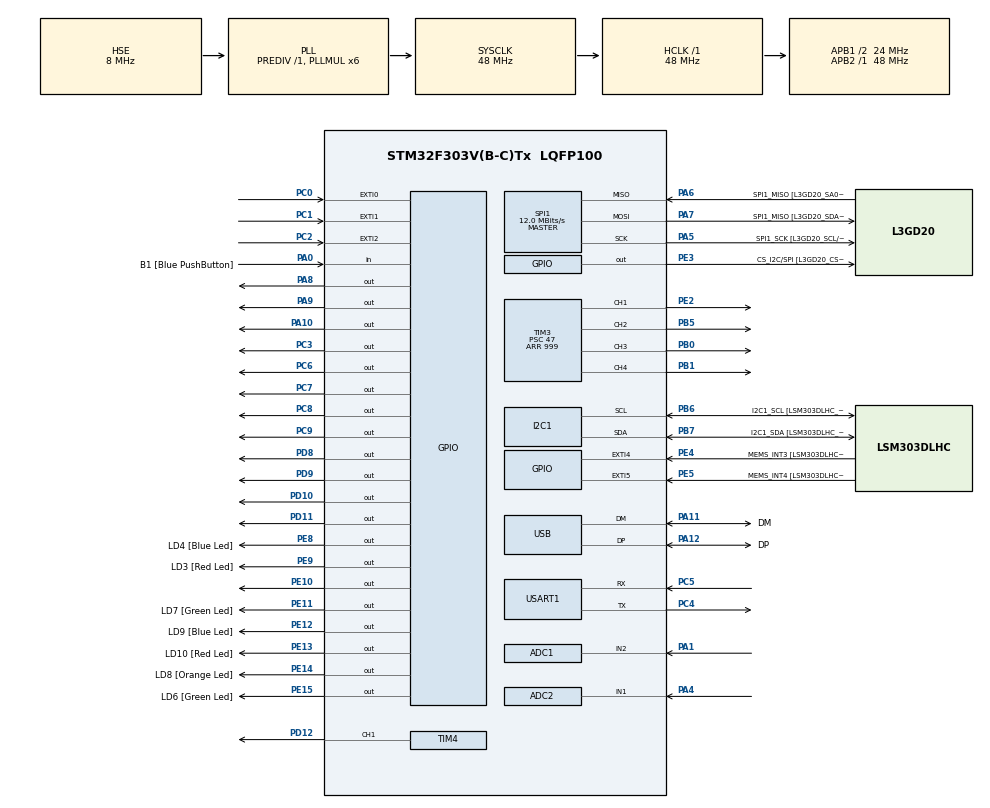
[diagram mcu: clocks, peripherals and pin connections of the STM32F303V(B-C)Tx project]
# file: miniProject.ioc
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ADC1.Channel-0\#ChannelRegularConversion=ADC_CHANNEL_2
ADC1.NbrOfConversionFlag=1
ADC1.Offset-0\#ChannelRegularConversion=0
ADC1.OffsetNumber-0\#ChannelRegularConversion=ADC_OFFSET_NONE
ADC1.Rank-0\#ChannelRegularConversion=1
ADC1.SamplingTime-0\#ChannelRegularConversion=ADC_SAMPLETIME_1CYCLE_5
ADC1.master=1
ADC2.Channel-1\#ChannelRegularConversion=ADC_CHANNEL_1
ADC2.NbrOfConversionFlag=1
ADC2.Offset-1\#ChannelRegularConversion=0
ADC2.OffsetNumber-1\#ChannelRegularConversion=ADC_OFFSET_NONE
ADC2.Rank-1\#ChannelRegularConversion=1
ADC2.SamplingTime-1\#ChannelRegularConversion=ADC_SAMPLETIME_601CYCLES_5
ADC2.SamplingTimeOPAMP-1\#ChannelRegularConversion=ADC_SAMPLETIME_19CYCLES_5
I2C1.Timing-I2C=0x2000090E
Mcu.Family=STM32F3
Mcu.Name=STM32F303V(B-C)Tx
Mcu.Package=LQFP100
NVIC.ADC1_2_IRQn=true\:0\:0\:false\:false\:true\:true\:true\:true
NVIC.EXTI0_IRQn=true\:0\:0\:false\:false\:true\:true\:true\:true
NVIC.EXTI1_IRQn=true\:0\:0\:false\:false\:true\:true\:true\:true
NVIC.EXTI2_TSC_IRQn=true\:0\:0\:false\:false\:true\:true\:true\:true
NVIC.PriorityGroup=NVIC_PRIORITYGROUP_0
NVIC.TIM1_BRK_TIM15_IRQn=true\:0\:0\:false\:false\:true\:true\:true\:true
NVIC.TIM1_CC_IRQn=true\:0\:0\:false\:false\:true\:true\:true\:true
NVIC.TIM1_TRG_COM_TIM17_IRQn=true\:0\:0\:false\:false\:true\:true\:true\:true
NVIC.TIM1_UP_TIM16_IRQn=true\:0\:0\:false\:false\:true\:true\:true\:true
NVIC.TIM2_IRQn=true\:0\:0\:false\:false\:true\:true\:true\:true
NVIC.TIM3_IRQn=true\:0\:0\:false\:false\:true\:true\:true\:true
NVIC.USART1_IRQn=true\:0\:0\:false\:false\:true\:true\:true\:true
PA0.GPIO_Label=B1 [Blue PushButton]
PA0.Signal=GPIO_Input
PA1.Mode=IN2-Single-Ended
PA1.Signal=ADC1_IN2
PA10.Signal=GPIO_Output
PA11.GPIO_Label=DM
PA11.Mode=Device
PA11.Signal=USB_DM
PA12.GPIO_Label=DP
PA12.Mode=Device
PA12.Signal=USB_DP
PA13.GPIO_Label=SWDIO
PA13.Mode=Serial_Wire
PA13.Signal=SYS_JTMS-SWDIO
PA14.GPIO_Label=SWCLK
PA14.Mode=Serial_Wire
PA14.Signal=SYS_JTCK-SWCLK
PA4.Mode=IN1-Single-Ended
PA4.Signal=ADC2_IN1
PA5.GPIO_Label=SPI1_SCK [L3GD20_SCL/SPC]
PA5.Mode=Full_Duplex_Master
PA5.Signal=SPI1_SCK
PA6.GPIO_Label=SPI1_MISO [L3GD20_SA0/SDO]
PA6.Mode=Full_Duplex_Master
PA6.Signal=SPI1_MISO
PA7.GPIO_Label=SPI1_MISO [L3GD20_SDA/SDI/SDO]
PA7.Mode=Full_Duplex_Master
PA7.Signal=SPI1_MOSI
PA8.Signal=GPIO_Output
PA9.Signal=GPIO_Output
PB0.Signal=S_TIM3_CH3
PB1.Signal=S_TIM3_CH4
PB3.GPIO_Label=SWO
PB3.Signal=SYS_JTDO-TRACESWO
PB5.Signal=S_TIM3_CH2
PB6.GPIO_Label=I2C1_SCL [LSM303DLHC_SCL]
PB6.GPIO_Pu=GPIO_PULLUP
PB6.Mode=I2C
PB6.Signal=I2C1_SCL
PB7.GPIO_Label=I2C1_SDA [LSM303DLHC_SDA]
PB7.GPIO_Pu=GPIO_PULLUP
PB7.Mode=I2C
PB7.Signal=I2C1_SDA
PC0.GPIO_PuPd=GPIO_PULLUP
PC0.Signal=GPXTI0
PC1.GPIO_PuPd=GPIO_PULLUP
PC1.Signal=GPXTI1
PC14-OSC32_IN.GPIO_Label=OSC32_IN
PC14-OSC32_IN.Signal=RCC_OSC32_IN
PC15-OSC32_OUT.GPIO_Label=OSC32_OUT
PC15-OSC32_OUT.Signal=RCC_OSC32_OUT
PC2.GPIO_PuPd=GPIO_PULLUP
PC2.Signal=GPXTI2
PC3.Signal=GPIO_Output
PC4.Mode=Asynchronous
PC4.Signal=USART1_TX
PC5.Mode=Asynchronous
PC5.Signal=USART1_RX
PC6.Signal=GPIO_Output
PC7.Signal=GPIO_Output
PC8.Signal=GPIO_Output
PC9.Signal=GPIO_Output
PD10.Signal=GPIO_Output
PD11.Signal=GPIO_Output
PD12.Signal=S_TIM4_CH1
PD8.Signal=GPIO_Output
PD9.Signal=GPIO_Output
PE10.Signal=GPIO_Output
PE11.GPIO_Label=LD7 [Green Led]
PE11.Signal=GPIO_Output
PE12.GPIO_Label=LD9 [Blue Led]
PE12.Signal=GPIO_Output
PE13.GPIO_Label=LD10 [Red Led]
PE13.Signal=GPIO_Output
PE14.GPIO_Label=LD8 [Orange Led]
PE14.Signal=GPIO_Output
PE15.GPIO_Label=LD6 [Green Led]
PE15.Signal=GPIO_Output
PE2.Signal=S_TIM3_CH1
PE3.GPIO_Label=CS_I2C/SPI [L3GD20_CS_I2C/SPI]
PE3.Signal=GPIO_Output
PE4.GPIO_Label=MEMS_INT3 [LSM303DLHC_INT1]
PE4.GPIO_ModeDefaultEXTI=GPIO_MODE_EVT_RISING
PE4.Signal=GPXTI4
PE5.GPIO_Label=MEMS_INT4 [LSM303DLHC_INT2]
PE5.GPIO_ModeDefaultEXTI=GPIO_MODE_EVT_RISING
PE5.Signal=GPXTI5
PE8.GPIO_Label=LD4 [Blue Led]
PE8.Signal=GPIO_Output
PE9.GPIO_Label=LD3 [Red Led]
PE9.Signal=GPIO_Output
PF0-OSC_IN.GPIO_Label=OSC_IN
PF0-OSC_IN.Mode=HSE-External-Clock-Source
PF0-OSC_IN.Signal=RCC_OSC_IN
PF1-OSC_OUT.GPIO_Label=OSC_OUT
PF1-OSC_OUT.Signal=RCC_OSC_OUT
ProjectManager.HeapSize=0x200
ProjectManager.StackSize=0x400
ProjectManager.TargetToolchain=STM32CubeIDE
RCC.AHBFreq_Value=48000000
RCC.APB1CLKDivider=RCC_HCLK_DIV2
RCC.APB1Freq_Value=24000000
RCC.APB1TimFreq_Value=48000000
RCC.APB2Freq_Value=48000000
RCC.APB2TimFreq_Value=48000000
RCC.CortexFreq_Value=48000000
RCC.HCLKFreq_Value=48000000
RCC.HSE_VALUE=8000000
RCC.HSI_VALUE=8000000
RCC.LSE_VALUE=32768
RCC.PLLMUL=RCC_PLL_MUL6
RCC.SYSCLKFreq_VALUE=48000000
RCC.SYSCLKSourceVirtual=RCC_SYSCLKSOURCE_PLLCLK
RCC.USBFreq_Value=48000000
SH.S_TIM3_CH1.0=TIM3_CH1,PWM Generation1 CH1
SH.S_TIM3_CH2.0=TIM3_CH2,PWM Generation2 CH2
SH.S_TIM3_CH3.0=TIM3_CH3,PWM Generation3 CH3
SH.S_TIM3_CH4.0=TIM3_CH4,PWM Generation4 CH4
SH.S_TIM4_CH1.0=TIM4_CH1,PWM Generation1 CH1
SPI1.BaudRatePrescaler=SPI_BAUDRATEPRESCALER_4
SPI1.BaudRatePrescaler-Full_Duplex_Master=SPI_BAUDRATEPRESCALER_2
SPI1.CalculateBaudRate=12.0 MBits/s
SPI1.CalculateBaudRate-Full_Duplex_Master=24.0 MBits/s
SPI1.Direction=SPI_DIRECTION_2LINES
SPI1.Mode=SPI_MODE_MASTER
SPI1.Mode-Full_Duplex_Master=SPI_MODE_MASTER
SPI1.VirtualType=VM_MASTER
TIM1.CounterMode=TIM_COUNTERMODE_UP
TIM1.Period=999
TIM1.Prescaler=47
TIM2.Period=999
TIM2.Prescaler=47
TIM3.Channel-PWM\ Generation1\ CH1=TIM_CHANNEL_1
TIM3.Channel-PWM\ Generation2\ CH2=TIM_CHANNEL_2
TIM3.Channel-PWM\ Generation3\ CH3=TIM_CHANNEL_3
TIM3.Channel-PWM\ Generation4\ CH4=TIM_CHANNEL_4
TIM3.Period=999
TIM3.Prescaler=47
TIM4.Channel-PWM\ Generation1\ CH1=TIM_CHANNEL_1
USART1.VirtualMode-Asynchronous=VM_ASYNC
VP_TIM1_VS_ClockSourceINT.Mode=Internal
VP_TIM2_VS_ClockSourceINT.Mode=Internal
VP_TIM3_VS_ClockSourceINT.Mode=Internal
VP_TIM4_VS_ClockSourceINT.Mode=Internal
board=STM32F3DISCOVERY

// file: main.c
/* USER CODE BEGIN Header */
/**
 ******************************************************************************
 * @file           : main.c
 * @brief          : Main program body
 ******************************************************************************
 * @attention
 *
 * Copyright (c) 2023 STMicroelectronics.
 * All rights reserved.
 *
 * This software is licensed under terms that can be found in the LICENSE file
 * in the root directory of this software component.
 * If no LICENSE file comes with this software, it is provided AS-IS.
 *
 ******************************************************************************
 */
/* USER CODE END Header */
#include "main.h"

/* USER CODE BEGIN Includes */
#include <math.h>
#include <stdio.h>
/* USER CODE END Includes */

ADC_HandleTypeDef hadc1;
ADC_HandleTypeDef hadc2;

I2C_HandleTypeDef hi2c1;

SPI_HandleTypeDef hspi1;

TIM_HandleTypeDef htim1;
TIM_HandleTypeDef htim2;
TIM_HandleTypeDef htim3;
TIM_HandleTypeDef htim4;

UART_HandleTypeDef huart1;

PCD_HandleTypeDef hpcd_USB_FS;

/* USER CODE BEGIN PV */

//uint8_t bufferRTC[100];
//uint32_t bufferindex = 0;
//int compare = 0;
//uint32_t hour;
//uint32_t minutes;
//uint32_t seconds;
//RTC_TimeTypeDef mytime = { .Hours = 1, .Minutes = 12, .Seconds = 2 };
/* USER CODE END PV */

void SystemClock_Config(void);
static void MX_GPIO_Init(void);
static void MX_I2C1_Init(void);
static void MX_SPI1_Init(void);
static void MX_USB_PCD_Init(void);
static void MX_TIM3_Init(void);
static void MX_TIM4_Init(void);
static void MX_ADC1_Init(void);
static void MX_TIM1_Init(void);
static void MX_TIM2_Init(void);
static void MX_ADC2_Init(void);
static void MX_USART1_UART_Init(void);

/* USER CODE BEGIN 0 */
int key_time = 0;
int state_prim = 4;
TIM_HandleTypeDef *pwm_timer = &htim3;
int sin_counter = 400;
int tr_counter = 10;
int maxBuzzer = 500;
int minBuzzer = 0;
int flag = 0;
int timer = 0;
int vol, ldrVal;
int dimstep = 0;
int maxVol = 4095;
int minVol = 100;
int range = 4095 - 100;
int counterTimerAdc = 0;
int treshold = 10000, treshold1 = 0;
int first_light = 0;
int first_cnt = 0;
int countervol = 0;
int sum = 0, avg = 0, state_tr = 0, first_tap = 0;
int warnCount = 0;
int timerState2 = 0;
int alreadyWarned = 1;
int leds[8] = { GPIO_PIN_8, GPIO_PIN_9, GPIO_PIN_10, GPIO_PIN_11, GPIO_PIN_12,
GPIO_PIN_13, GPIO_PIN_14, GPIO_PIN_15 };
char input_uart[50];
int light = 0;
int warNum = 0;
char rx_byte[1];
char buffer_uart[50];
int buffer_index = 0;
uint32_t state = 0;
uint32_t buffer[100];
uint8_t buffer2transmist[100];

typedef struct {
	GPIO_TypeDef *port;
	uint16_t pin;
} pin_type;

typedef struct {
	pin_type digit_activators[4];
	pin_type BCD_input[4];
	uint32_t digits[4];
	uint32_t number;
} seven_segment_type;

void uart_send(uint8_t *buffer2transmist, int len) {
	HAL_UART_Transmit(&huart1, buffer2transmist, len, 100);
}

void ledOff_board() {
	for (int i = 0; i < 8; i++) {
		HAL_GPIO_WritePin(GPIOE, leds[i], 0);
	}
}
void ledOn_board() {
	for (int i = 0; i < 8; i++) {
		HAL_GPIO_WritePin(GPIOE, leds[i], 1);
	}
}

seven_segment_type seven_segment = { .digit_activators = { { .port = GPIOD,
		.pin = GPIO_PIN_8 }, { .port = GPIOD, .pin = GPIO_PIN_9 }, { .port =
GPIOD, .pin = GPIO_PIN_11 }, { .port = GPIOD, .pin = GPIO_PIN_10 } },
		.BCD_input = { { .port = GPIOA, .pin = GPIO_PIN_8 }, { .port = GPIOA,
				.pin = GPIO_PIN_10 }, { .port = GPIOA, .pin = GPIO_PIN_9 }, {
				.port = GPIOC, .pin = GPIO_PIN_9 } }, .digits = { 0, 0, 0, 0 },
		.number = 0 };

void seven_segment_display_decimal(uint32_t n) {
	if (n < 10) {
		HAL_GPIO_WritePin(seven_segment.BCD_input[0].port,
				seven_segment.BCD_input[0].pin,
				(n & 1) ? GPIO_PIN_SET : GPIO_PIN_RESET);
		HAL_GPIO_WritePin(seven_segment.BCD_input[1].port,
				seven_segment.BCD_input[1].pin,
				(n & 2) ? GPIO_PIN_SET : GPIO_PIN_RESET);
		HAL_GPIO_WritePin(seven_segment.BCD_input[2].port,
				seven_segment.BCD_input[2].pin,
				(n & 4) ? GPIO_PIN_SET : GPIO_PIN_RESET);
		HAL_GPIO_WritePin(seven_segment.BCD_input[3].port,
				seven_segment.BCD_input[3].pin,
				(n & 8) ? GPIO_PIN_SET : GPIO_PIN_RESET);
	}
}

void seven_segment_deactivate_digits(void) {
	for (int i = 0; i < 4; ++i) {
		HAL_GPIO_WritePin(seven_segment.digit_activators[i].port,
				seven_segment.digit_activators[i].pin, GPIO_PIN_SET);
	}
}

void seven_segment_activate_digit(uint32_t d) {
	if (d < 4) {
		HAL_GPIO_WritePin(seven_segment.digit_activators[d].port,
				seven_segment.digit_activators[d].pin, GPIO_PIN_RESET);
	}
}

void seven_segment_set_num(uint32_t n) {
	if (n < 10000) {
		seven_segment.number = n;
		for (uint32_t i = 0; i < 4; ++i) {
			seven_segment.digits[3 - i] = n % 10;
			n /= 10;
		}
	}
}

void seven_segment_refresh(void) {

	static uint32_t last_time = 0;
	if (HAL_GetTick() - last_time > 5) {
		seven_segment_deactivate_digits();
		seven_segment_activate_digit(state);
		seven_segment_display_decimal(seven_segment.digits[state]);
		state = (state + 1) % 4;
		last_time = HAL_GetTick();
		if (state == state_prim && state_prim != 0) {
			HAL_GPIO_WritePin(GPIOC, GPIO_PIN_8, 1);
		} else {
			HAL_GPIO_WritePin(GPIOC, GPIO_PIN_8, 0);
		}
	}
}

void programInit() {
	seven_segment_set_num(0000);

}

void programLoop() {
	seven_segment.digits[3]=warnCount;
	seven_segment_refresh();

}

void ledOff() {
	__HAL_TIM_SET_COMPARE(&htim3, TIM_CHANNEL_1, 0);
	__HAL_TIM_SET_COMPARE(&htim3, TIM_CHANNEL_2, 0);
	__HAL_TIM_SET_COMPARE(&htim3, TIM_CHANNEL_3, 0);
	__HAL_TIM_SET_COMPARE(&htim3, TIM_CHANNEL_4, 0);
}
void ledOn() {

	if (seven_segment.digits[1] == 0) {
		ledOff();
	} else if (seven_segment.digits[1] == 1) {
		__HAL_TIM_SET_COMPARE(&htim3, TIM_CHANNEL_1,
				(seven_segment.digits[0] * 100) + (vol * 50));
		__HAL_TIM_SET_COMPARE(&htim3, TIM_CHANNEL_2, 0);
		__HAL_TIM_SET_COMPARE(&htim3, TIM_CHANNEL_3, 0);
		__HAL_TIM_SET_COMPARE(&htim3, TIM_CHANNEL_4, 0);

	} else if (seven_segment.digits[1] == 2) {
		__HAL_TIM_SET_COMPARE(&htim3, TIM_CHANNEL_1,
				(seven_segment.digits[0] * 100) + (vol * 50));
		__HAL_TIM_SET_COMPARE(&htim3, TIM_CHANNEL_2,
				(seven_segment.digits[0] * 100) + (vol * 50));
		__HAL_TIM_SET_COMPARE(&htim3, TIM_CHANNEL_3, 0);
		__HAL_TIM_SET_COMPARE(&htim3, TIM_CHANNEL_4, 0);

	} else if (seven_segment.digits[1] == 3) {
		__HAL_TIM_SET_COMPARE(&htim3, TIM_CHANNEL_1,
				(seven_segment.digits[0] * 100) + (vol * 50));
		__HAL_TIM_SET_COMPARE(&htim3, TIM_CHANNEL_2,
				(seven_segment.digits[0] * 100) + (vol * 50));
		__HAL_TIM_SET_COMPARE(&htim3, TIM_CHANNEL_3,
				(seven_segment.digits[0] * 100) + (vol * 50));
		__HAL_TIM_SET_COMPARE(&htim3, TIM_CHANNEL_4, 0);

	} else if (seven_segment.digits[1] == 4) {
		__HAL_TIM_SET_COMPARE(&htim3, TIM_CHANNEL_1,
				(seven_segment.digits[0] * 100) + (vol * 50));
		__HAL_TIM_SET_COMPARE(&htim3, TIM_CHANNEL_2,
				(seven_segment.digits[0] * 100) + (vol * 50));
		__HAL_TIM_SET_COMPARE(&htim3, TIM_CHANNEL_3,
				(seven_segment.digits[0] * 100) + (vol * 50));
		__HAL_TIM_SET_COMPARE(&htim3, TIM_CHANNEL_4,
				(seven_segment.digits[0] * 100) + (vol * 50));
	}
}

void buzzer_Change_Tone(uint16_t pwm_freq, uint16_t volume) // pwm_freq (1 - 20000), volume (0 - 1000)
{
	if (pwm_freq == 0 || pwm_freq > 20000) {
		__HAL_TIM_SET_COMPARE(&htim4, TIM_CHANNEL_1, 0);
	} else {
		const uint32_t internal_clock_freq = HAL_RCC_GetSysClockFreq();
		const uint16_t prescaler = 1 + internal_clock_freq / pwm_freq / 60000;
		const uint32_t timer_clock = internal_clock_freq / prescaler;
		const uint32_t period_cycles = timer_clock / pwm_freq;
		const uint32_t pulse_width = volume * period_cycles / 1000 / 2;

		pwm_timer->Instance->PSC = prescaler - 1;
		pwm_timer->Instance->ARR = period_cycles - 1;
		pwm_timer->Instance->EGR = TIM_EGR_UG;
		__HAL_TIM_SET_COMPARE(&htim4, TIM_CHANNEL_1, pulse_width); // pwm_timer->Instance->CCR2 = pulse_width;
	}
}

void warning() { //buzzer

	if (seven_segment.digits[2] == 1) { //sin
		static uint32_t last_millis = 0;
		buzzer_Change_Tone(
				(((maxBuzzer - minBuzzer) / 2)
						* sin(2 * 3.14 * sin_counter / 1000)
						+ ((maxBuzzer + minBuzzer) / 2)), 5);
		if (HAL_GetTick() - last_millis > 500) {
			uint8_t arr2[] = "[INFO] Digit changed\n";
			int len = sprintf(buffer2transmist,
					"[Info] Wave changed to {sin}\n");
			uart_send(arr2, sizeof(arr2));
			uart_send(buffer2transmist, len);
			last_millis = HAL_GetTick();
		}
	} else if (seven_segment.digits[2] == 2) { //square
		if (flag == 1) {
			buzzer_Change_Tone(1000, 50);
		} else {
			buzzer_Change_Tone(0, 50);
		}
		static uint32_t last_millis = 0;
		if (HAL_GetTick() - last_millis > 500) {
			uint8_t arr2[] = "[INFO] Digit changed\n";
			int len = sprintf(buffer2transmist,
					"[INFO] Wave changed to {Square}\n");
			uart_send(arr2, sizeof(arr2));
			uart_send(buffer2transmist, len);
			last_millis = HAL_GetTick();
		}
	} else if (seven_segment.digits[2] == 3) { //triangular
		static uint32_t last_millis = 0;
		buzzer_Change_Tone(tr_counter, 100);
		if (tr_counter > 2000)
			tr_counter = 0;
		if (HAL_GetTick() - last_millis > 500) {
			uint8_t arr2[] = "[INFO] Digit changed\n";
			int len = sprintf(buffer2transmist,
					"[Info] Wave changed to {triangular}\n");
			uart_send(arr2, sizeof(arr2));
			uart_send(buffer2transmist, len);
			last_millis = HAL_GetTick();
		}
	}
}

void increment_selected_digit() {
	if (state_prim == 1) { // 0 ta 9
		seven_segment.digits[0] = (seven_segment.digits[0] + 1) % 10;
	} else if (state_prim == 2) { // 0 ta 4
		seven_segment.digits[1] = (seven_segment.digits[1] + 1) % 5;

	} else if (state_prim == 3) { // 1 ta 3
		seven_segment.digits[2] = (seven_segment.digits[2] + 1) % 4;
		if (seven_segment.digits[2] == 0) {
			seven_segment.digits[2] = 1;
		}

	}
}
void decrese_selected_digit() {
	if (state_prim == 1) {
		if (seven_segment.digits[0] == 0) {
			seven_segment.digits[0] = 9;
		} else {
			seven_segment.digits[0] = (seven_segment.digits[0] - 1) % 9;
		}
	} else if (state_prim == 2) {
		if (seven_segment.digits[1] == 0) {
			seven_segment.digits[1] = 4;
		} else {
			seven_segment.digits[1] = (seven_segment.digits[1] - 1) % 5;
		}
	} else if (state_prim == 3) {
		if (seven_segment.digits[2] == 1) {
			seven_segment.digits[2] = 4;
		}
		seven_segment.digits[2] = (seven_segment.digits[2] - 1) % 4;
	}
}

void HAL_GPIO_EXTI_Callback(uint16_t GPIO_Pin) {

	if (HAL_GetTick() - key_time < 200)
		return;
	key_time = HAL_GetTick();

	if (GPIO_Pin == GPIO_PIN_0) { //button
		state_prim++;
		if (state_prim > 3) {
			state_prim = 1;
		}
		if (first_tap == 0) {
			treshold = treshold1;
			first_tap = 1;
			unsigned char data[100] = "SALAM";
			int n = sprintf(data, "treshhold:  %d\n", treshold);
			HAL_UART_Transmit(&huart1, data, n, 1000);
			seven_segment_set_num(0000);
			state_tr = 1;
		}
	} else if (GPIO_Pin == GPIO_PIN_1) {
		increment_selected_digit();
		//HAL_GPIO_TogglePin(GPIOE, GPIO_PIN_10);
		ledOn();
		static uint32_t last_millis = 0;
		if (HAL_GetTick() - last_millis > 500) {
			uint8_t arr2[] = "[INFO] Digit changed\n";
			uart_send(arr2, sizeof(arr2));
			int len = snprintf(buffer2transmist, sizeof buffer2transmist,
					"[Info] Digit {%d} Increased\n", state_prim);
			uart_send(buffer2transmist, len);
			last_millis = HAL_GetTick();
		}
	} else if (GPIO_Pin == GPIO_PIN_2) {
		decrese_selected_digit();
		static uint32_t last_millis = 0;
		//HAL_GPIO_TogglePin(GPIOE, GPIO_PIN_11);
		if (HAL_GetTick() - last_millis > 500) {
			uint8_t arr2[] = "[INFO] Digit changed\n";
			int len = sprintf(buffer2transmist, "[Info] Digit {%d} Dcreased\n",
					state_prim);
			uart_send(arr2, sizeof(arr2));
			uart_send(buffer2transmist, len);
			last_millis = HAL_GetTick();
		}
	}

}

void HAL_TIM_PeriodElapsedCallback(TIM_HandleTypeDef *htim) {
	if (htim->Instance == TIM2) {
		timerState2++;
		counterTimerAdc++;
		sin_counter++;
		tr_counter++;
		ledOn_board();
		if (ldrVal > treshold) {
			ledOff_board();
//			ledOff();
			warning();
			if (alreadyWarned == 1) {
				static uint32_t last_millis = 0;
				if (HAL_GetTick() - last_millis > 500) {
					uint8_t arr2[] = "[INFO] Digit changed\n";
					uart_send(arr2, sizeof(arr2));
					int len = sprintf(buffer2transmist,
							"[WARN] Critical Situation. Light value:{%d}",
							ldrVal);
					uart_send(buffer2transmist, len);
					last_millis = HAL_GetTick();
				}
				state_tr = 2;
				ledOff();
				if (timerState2 < 500) {
					seven_segment_activate_digit(state);
				} else if (timerState2 < 1000) {
					seven_segment_deactivate_digits();
				} else {
					timerState2 = 0;
				}
			} else {
				warnCount++;
				if(warnCount>9)
					warnCount=0;
				alreadyWarned = 1;
			}
		} else {
			alreadyWarned = 0;
			buzzer_Change_Tone(0, 0);
		}
		HAL_ADC_Start_IT(&hadc1);
		if (counterTimerAdc > 100) {
			HAL_ADC_Start_IT(&hadc2);

			counterTimerAdc = 0;
		}
		timer++;
		if (timer == 500) {
			if (flag == 0) {
				flag = 1;
			} else {
				flag = 0;
			}
			timer = 0;
		}
		ledOn();
	}

}

void HAL_ADC_ConvCpltCallback(ADC_HandleTypeDef *hadc)

{
	if (hadc->Instance == ADC1) {
		int y = HAL_ADC_GetValue(&hadc1);
		static uint32_t last = 0;
		vol = ((int) y * 20 / 4095);
		unsigned char data[100] = "SALAM";
		countervol++;
		vol -= 10;
		sum += vol;
		if (countervol == 100 && state_tr == 0) {
			avg = sum / 100;
			seven_segment_set_num(((avg + first_light) * 20) - 160); //scale for 20
			treshold1 = ((avg + first_light) * 20) - 160;
			if (HAL_GetTick() - last > 1000) {
				int n = sprintf(buffer2transmist, "tr1  %d vol  %d\n",
						treshold1, vol);
				uart_send(buffer2transmist, n);
//			HAL_UART_Transmit(&huart1, data, n, 1000);
				last = HAL_GetTick();
			}
			avg = 0;
			sum = 0;
			countervol = 0;
		}
	}

	if (hadc->Instance == ADC2) {
		int x = HAL_ADC_GetValue(&hadc2);
		ldrVal = ((int) x * 80 / 4095); //scale
		if (first_cnt == 0) {
			first_light = ((int) x * 30 / 4095);
			first_cnt = 1;
		}
	}
}

void check_uart() {
	dimstep = seven_segment.digits[0];
	light = seven_segment.digits[1];
	warNum = seven_segment.digits[2];
	uint8_t temp[100];
	uint8_t len;

	if (input_uart[0] == 'd' && input_uart[1] - '0' >= 0
			&& input_uart[1] - '0' <= 9 && input_uart[2] == 0xa) {
		if (dimstep > input_uart[1] - '0') {
			len = sprintf(temp, "Dimstep Decreased\n");
			HAL_UART_Transmit(&huart1, temp, len, HAL_MAX_DELAY);
		} else if (dimstep < input_uart[1] - '0') {
			len = sprintf(temp, "Dimstep increased \n");
			HAL_UART_Transmit(&huart1, temp, len, HAL_MAX_DELAY);
		}
		dimstep = input_uart[1] - '0';
		seven_segment.digits[0]=dimstep;

	} else if (input_uart[0] == 'l' && input_uart[1] - '0' >= 0
			&& input_uart[1] - '0' <= 4 && input_uart[2] == 0xa) {
		if (light > input_uart[1] - '0') {
			len = sprintf(temp, "Digit light decreased \n");
			HAL_UART_Transmit(&huart1, temp, len, HAL_MAX_DELAY);
		} else if (light < input_uart[1] - '0') {
			len = sprintf(temp, "Digit light increased \n");
			HAL_UART_Transmit(&huart1, temp, len, HAL_MAX_DELAY);
		}
		light = input_uart[1] - '0';
		seven_segment.digits[1]=light;

	} else if (input_uart[0] == 'w' && input_uart[1] - '0' >= 1
			&& input_uart[1] - '0' <= 3 && input_uart[2] == 0xa) {
		if (warNum > input_uart[1] - '0') {
			len = sprintf(temp, "Digit warNum Decreased\n");
			HAL_UART_Transmit(&huart1, temp, len, HAL_MAX_DELAY);
		} else if (warNum < input_uart[1] - '0') {
			len = sprintf(temp, "Digit warNum Increased\n");
			HAL_UART_Transmit(&huart1, temp, len, HAL_MAX_DELAY);
		}
		warNum = input_uart[1] - '0';
		seven_segment.digits[2]=warNum;

		if (warNum == 1) {
			len = sprintf(temp, "Wave changed to sin\n");
			HAL_UART_Transmit(&huart1, temp, len, HAL_MAX_DELAY);
		} else if (warNum == 2) {
			len = sprintf(temp, "Wave changed to square\n");
			HAL_UART_Transmit(&huart1, temp, len, HAL_MAX_DELAY);
		} else if (warNum == 3) {
			len = sprintf(temp, "Wave changed to 3\n");
			HAL_UART_Transmit(&huart1, temp, len, HAL_MAX_DELAY);
		}
	} else {
		HAL_UART_Transmit(&huart1, "INVALID PACKET", 14, HAL_MAX_DELAY);
	}

}

void HAL_UART_RxCpltCallback(UART_HandleTypeDef *huart) {
	if (huart->Instance == USART1) {
		input_uart[buffer_index++] = rx_byte[0];
		HAL_UART_Transmit(&huart1, rx_byte, 1, 1000);
		if (rx_byte[0] == '\n') {
			HAL_GPIO_TogglePin(GPIOE, GPIO_PIN_10);

			buffer_index = 0;
			HAL_UART_Transmit(&huart1, buffer_uart, buffer_index,
			HAL_MAX_DELAY);
			check_uart();
		}

		HAL_UART_Receive_IT(&huart1, rx_byte, 1);

	}
}

/* USER CODE END 0 */

int main(void)
{

  /* MCU Configuration--------------------------------------------------------*/

  /* Reset of all peripherals, Initializes the Flash interface and the Systick. */
  HAL_Init();

  /* Configure the system clock */
  SystemClock_Config();

  /* Initialize all configured peripherals */
  MX_GPIO_Init();
  MX_I2C1_Init();
  MX_SPI1_Init();
  MX_USB_PCD_Init();
  MX_TIM3_Init();
  MX_TIM4_Init();
  MX_ADC1_Init();
  MX_TIM1_Init();
  MX_TIM2_Init();
  MX_ADC2_Init();
  MX_USART1_UART_Init();
  /* USER CODE BEGIN 2 */
	programInit();
	HAL_TIM_Base_Start_IT(&htim2);
	HAL_TIM_Base_Start_IT(&htim3);
	HAL_TIM_Base_Start_IT(&htim4);

	HAL_TIM_PWM_Start(pwm_timer, TIM_CHANNEL_1);
	HAL_TIM_PWM_Start(pwm_timer, TIM_CHANNEL_2);
	HAL_TIM_PWM_Start(pwm_timer, TIM_CHANNEL_3);
	HAL_TIM_PWM_Start(pwm_timer, TIM_CHANNEL_4);
	HAL_TIM_PWM_Start(&htim4, TIM_CHANNEL_1);
	HAL_ADC_Start_IT(&hadc2);
	HAL_ADC_Start_IT(&hadc1);
	HAL_UART_Receive_IT(&huart1, rx_byte, 1);

  /* USER CODE END 2 */

  /* Infinite loop */
  /* USER CODE BEGIN WHILE */
	while (1) {
		programLoop();
    /* USER CODE END WHILE */

	}
}

void SystemClock_Config(void)
{
  RCC_OscInitTypeDef RCC_OscInitStruct = {0};
  RCC_ClkInitTypeDef RCC_ClkInitStruct = {0};
  RCC_PeriphCLKInitTypeDef PeriphClkInit = {0};

  /** Initializes the RCC Oscillators according to the specified parameters
  * in the RCC_OscInitTypeDef structure.
  */
  RCC_OscInitStruct.OscillatorType = RCC_OSCILLATORTYPE_HSI|RCC_OSCILLATORTYPE_HSE;
  RCC_OscInitStruct.HSEState = RCC_HSE_BYPASS;
  RCC_OscInitStruct.HSEPredivValue = RCC_HSE_PREDIV_DIV1;
  RCC_OscInitStruct.HSIState = RCC_HSI_ON;
  RCC_OscInitStruct.HSICalibrationValue = RCC_HSICALIBRATION_DEFAULT;
  RCC_OscInitStruct.PLL.PLLState = RCC_PLL_ON;
  RCC_OscInitStruct.PLL.PLLSource = RCC_PLLSOURCE_HSE;
  RCC_OscInitStruct.PLL.PLLMUL = RCC_PLL_MUL6;
  if (HAL_RCC_OscConfig(&RCC_OscInitStruct) != HAL_OK)
  {
    Error_Handler();
  }

  /** Initializes the CPU, AHB and APB buses clocks
  */
  RCC_ClkInitStruct.ClockType = RCC_CLOCKTYPE_HCLK|RCC_CLOCKTYPE_SYSCLK
                              |RCC_CLOCKTYPE_PCLK1|RCC_CLOCKTYPE_PCLK2;
  RCC_ClkInitStruct.SYSCLKSource = RCC_SYSCLKSOURCE_PLLCLK;
  RCC_ClkInitStruct.AHBCLKDivider = RCC_SYSCLK_DIV1;
  RCC_ClkInitStruct.APB1CLKDivider = RCC_HCLK_DIV2;
  RCC_ClkInitStruct.APB2CLKDivider = RCC_HCLK_DIV1;

  if (HAL_RCC_ClockConfig(&RCC_ClkInitStruct, FLASH_LATENCY_1) != HAL_OK)
  {
    Error_Handler();
  }
  PeriphClkInit.PeriphClockSelection = RCC_PERIPHCLK_USB|RCC_PERIPHCLK_USART1
                              |RCC_PERIPHCLK_I2C1|RCC_PERIPHCLK_TIM1
                              |RCC_PERIPHCLK_ADC12;
  PeriphClkInit.Usart1ClockSelection = RCC_USART1CLKSOURCE_PCLK2;
  PeriphClkInit.Adc12ClockSelection = RCC_ADC12PLLCLK_DIV1;
  PeriphClkInit.I2c1ClockSelection = RCC_I2C1CLKSOURCE_HSI;
  PeriphClkInit.USBClockSelection = RCC_USBCLKSOURCE_PLL;
  PeriphClkInit.Tim1ClockSelection = RCC_TIM1CLK_HCLK;
  if (HAL_RCCEx_PeriphCLKConfig(&PeriphClkInit) != HAL_OK)
  {
    Error_Handler();
  }
}

static void MX_ADC1_Init(void)
{

  ADC_MultiModeTypeDef multimode = {0};
  ADC_ChannelConfTypeDef sConfig = {0};

  /** Common config
  */
  hadc1.Instance = ADC1;
  hadc1.Init.ClockPrescaler = ADC_CLOCK_ASYNC_DIV1;
  hadc1.Init.Resolution = ADC_RESOLUTION_12B;
  hadc1.Init.ScanConvMode = ADC_SCAN_DISABLE;
  hadc1.Init.ContinuousConvMode = DISABLE;
  hadc1.Init.DiscontinuousConvMode = DISABLE;
  hadc1.Init.ExternalTrigConvEdge = ADC_EXTERNALTRIGCONVEDGE_NONE;
  hadc1.Init.ExternalTrigConv = ADC_SOFTWARE_START;
  hadc1.Init.DataAlign = ADC_DATAALIGN_RIGHT;
  hadc1.Init.NbrOfConversion = 1;
  hadc1.Init.DMAContinuousRequests = DISABLE;
  hadc1.Init.EOCSelection = ADC_EOC_SINGLE_CONV;
  hadc1.Init.LowPowerAutoWait = DISABLE;
  hadc1.Init.Overrun = ADC_OVR_DATA_OVERWRITTEN;
  if (HAL_ADC_Init(&hadc1) != HAL_OK)
  {
    Error_Handler();
  }

  /** Configure the ADC multi-mode
  */
  multimode.Mode = ADC_MODE_INDEPENDENT;
  if (HAL_ADCEx_MultiModeConfigChannel(&hadc1, &multimode) != HAL_OK)
  {
    Error_Handler();
  }

  /** Configure Regular Channel
  */
  sConfig.Channel = ADC_CHANNEL_2;
  sConfig.Rank = ADC_REGULAR_RANK_1;
  sConfig.SingleDiff = ADC_SINGLE_ENDED;
  sConfig.SamplingTime = ADC_SAMPLETIME_1CYCLE_5;
  sConfig.OffsetNumber = ADC_OFFSET_NONE;
  sConfig.Offset = 0;
  if (HAL_ADC_ConfigChannel(&hadc1, &sConfig) != HAL_OK)
  {
    Error_Handler();
  }

}

static void MX_ADC2_Init(void)
{

  ADC_ChannelConfTypeDef sConfig = {0};

  /** Common config
  */
  hadc2.Instance = ADC2;
  hadc2.Init.ClockPrescaler = ADC_CLOCK_ASYNC_DIV1;
  hadc2.Init.Resolution = ADC_RESOLUTION_12B;
  hadc2.Init.ScanConvMode = ADC_SCAN_DISABLE;
  hadc2.Init.ContinuousConvMode = DISABLE;
  hadc2.Init.DiscontinuousConvMode = DISABLE;
  hadc2.Init.ExternalTrigConvEdge = ADC_EXTERNALTRIGCONVEDGE_NONE;
  hadc2.Init.ExternalTrigConv = ADC_SOFTWARE_START;
  hadc2.Init.DataAlign = ADC_DATAALIGN_RIGHT;
  hadc2.Init.NbrOfConversion = 1;
  hadc2.Init.DMAContinuousRequests = DISABLE;
  hadc2.Init.EOCSelection = ADC_EOC_SINGLE_CONV;
  hadc2.Init.LowPowerAutoWait = DISABLE;
  hadc2.Init.Overrun = ADC_OVR_DATA_OVERWRITTEN;
  if (HAL_ADC_Init(&hadc2) != HAL_OK)
  {
    Error_Handler();
  }

  /** Configure Regular Channel
  */
  sConfig.Channel = ADC_CHANNEL_1;
  sConfig.Rank = ADC_REGULAR_RANK_1;
  sConfig.SingleDiff = ADC_SINGLE_ENDED;
  sConfig.SamplingTime = ADC_SAMPLETIME_601CYCLES_5;
  sConfig.OffsetNumber = ADC_OFFSET_NONE;
  sConfig.Offset = 0;
  if (HAL_ADC_ConfigChannel(&hadc2, &sConfig) != HAL_OK)
  {
    Error_Handler();
  }

}

static void MX_I2C1_Init(void)
{

  hi2c1.Instance = I2C1;
  hi2c1.Init.Timing = 0x2000090E;
  hi2c1.Init.OwnAddress1 = 0;
  hi2c1.Init.AddressingMode = I2C_ADDRESSINGMODE_7BIT;
  hi2c1.Init.DualAddressMode = I2C_DUALADDRESS_DISABLE;
  hi2c1.Init.OwnAddress2 = 0;
  hi2c1.Init.OwnAddress2Masks = I2C_OA2_NOMASK;
  hi2c1.Init.GeneralCallMode = I2C_GENERALCALL_DISABLE;
  hi2c1.Init.NoStretchMode = I2C_NOSTRETCH_DISABLE;
  if (HAL_I2C_Init(&hi2c1) != HAL_OK)
  {
    Error_Handler();
  }

  /** Configure Analogue filter
  */
  if (HAL_I2CEx_ConfigAnalogFilter(&hi2c1, I2C_ANALOGFILTER_ENABLE) != HAL_OK)
  {
    Error_Handler();
  }

  /** Configure Digital filter
  */
  if (HAL_I2CEx_ConfigDigitalFilter(&hi2c1, 0) != HAL_OK)
  {
    Error_Handler();
  }

}

static void MX_SPI1_Init(void)
{

  /* SPI1 parameter configuration*/
  hspi1.Instance = SPI1;
  hspi1.Init.Mode = SPI_MODE_MASTER;
  hspi1.Init.Direction = SPI_DIRECTION_2LINES;
  hspi1.Init.DataSize = SPI_DATASIZE_4BIT;
  hspi1.Init.CLKPolarity = SPI_POLARITY_LOW;
  hspi1.Init.CLKPhase = SPI_PHASE_1EDGE;
  hspi1.Init.NSS = SPI_NSS_SOFT;
  hspi1.Init.BaudRatePrescaler = SPI_BAUDRATEPRESCALER_4;
  hspi1.Init.FirstBit = SPI_FIRSTBIT_MSB;
  hspi1.Init.TIMode = SPI_TIMODE_DISABLE;
  hspi1.Init.CRCCalculation = SPI_CRCCALCULATION_DISABLE;
  hspi1.Init.CRCPolynomial = 7;
  hspi1.Init.CRCLength = SPI_CRC_LENGTH_DATASIZE;
  hspi1.Init.NSSPMode = SPI_NSS_PULSE_ENABLE;
  if (HAL_SPI_Init(&hspi1) != HAL_OK)
  {
    Error_Handler();
  }

}

static void MX_TIM1_Init(void)
{

  TIM_ClockConfigTypeDef sClockSourceConfig = {0};
  TIM_MasterConfigTypeDef sMasterConfig = {0};

  htim1.Instance = TIM1;
  htim1.Init.Prescaler = 47;
  htim1.Init.CounterMode = TIM_COUNTERMODE_UP;
  htim1.Init.Period = 999;
  htim1.Init.ClockDivision = TIM_CLOCKDIVISION_DIV1;
  htim1.Init.RepetitionCounter = 0;
  htim1.Init.AutoReloadPreload = TIM_AUTORELOAD_PRELOAD_DISABLE;
  if (HAL_TIM_Base_Init(&htim1) != HAL_OK)
  {
    Error_Handler();
  }
  sClockSourceConfig.ClockSource = TIM_CLOCKSOURCE_INTERNAL;
  if (HAL_TIM_ConfigClockSource(&htim1, &sClockSourceConfig) != HAL_OK)
  {
    Error_Handler();
  }
  sMasterConfig.MasterOutputTrigger = TIM_TRGO_RESET;
  sMasterConfig.MasterOutputTrigger2 = TIM_TRGO2_RESET;
  sMasterConfig.MasterSlaveMode = TIM_MASTERSLAVEMODE_DISABLE;
  if (HAL_TIMEx_MasterConfigSynchronization(&htim1, &sMasterConfig) != HAL_OK)
  {
    Error_Handler();
  }

}

static void MX_TIM2_Init(void)
{

  TIM_ClockConfigTypeDef sClockSourceConfig = {0};
  TIM_MasterConfigTypeDef sMasterConfig = {0};

  htim2.Instance = TIM2;
  htim2.Init.Prescaler = 47;
  htim2.Init.CounterMode = TIM_COUNTERMODE_UP;
  htim2.Init.Period = 999;
  htim2.Init.ClockDivision = TIM_CLOCKDIVISION_DIV1;
  htim2.Init.AutoReloadPreload = TIM_AUTORELOAD_PRELOAD_DISABLE;
  if (HAL_TIM_Base_Init(&htim2) != HAL_OK)
  {
    Error_Handler();
  }
  sClockSourceConfig.ClockSource = TIM_CLOCKSOURCE_INTERNAL;
  if (HAL_TIM_ConfigClockSource(&htim2, &sClockSourceConfig) != HAL_OK)
  {
    Error_Handler();
  }
  sMasterConfig.MasterOutputTrigger = TIM_TRGO_RESET;
  sMasterConfig.MasterSlaveMode = TIM_MASTERSLAVEMODE_DISABLE;
  if (HAL_TIMEx_MasterConfigSynchronization(&htim2, &sMasterConfig) != HAL_OK)
  {
    Error_Handler();
  }

}

static void MX_TIM3_Init(void)
{

  TIM_ClockConfigTypeDef sClockSourceConfig = {0};
  TIM_MasterConfigTypeDef sMasterConfig = {0};
  TIM_OC_InitTypeDef sConfigOC = {0};

  htim3.Instance = TIM3;
  htim3.Init.Prescaler = 47;
  htim3.Init.CounterMode = TIM_COUNTERMODE_UP;
  htim3.Init.Period = 999;
  htim3.Init.ClockDivision = TIM_CLOCKDIVISION_DIV1;
  htim3.Init.AutoReloadPreload = TIM_AUTORELOAD_PRELOAD_DISABLE;
  if (HAL_TIM_Base_Init(&htim3) != HAL_OK)
  {
    Error_Handler();
  }
  sClockSourceConfig.ClockSource = TIM_CLOCKSOURCE_INTERNAL;
  if (HAL_TIM_ConfigClockSource(&htim3, &sClockSourceConfig) != HAL_OK)
  {
    Error_Handler();
  }
  if (HAL_TIM_PWM_Init(&htim3) != HAL_OK)
  {
    Error_Handler();
  }
  sMasterConfig.MasterOutputTrigger = TIM_TRGO_RESET;
  sMasterConfig.MasterSlaveMode = TIM_MASTERSLAVEMODE_DISABLE;
  if (HAL_TIMEx_MasterConfigSynchronization(&htim3, &sMasterConfig) != HAL_OK)
  {
    Error_Handler();
  }
  sConfigOC.OCMode = TIM_OCMODE_PWM1;
  sConfigOC.Pulse = 0;
  sConfigOC.OCPolarity = TIM_OCPOLARITY_HIGH;
  sConfigOC.OCFastMode = TIM_OCFAST_DISABLE;
  if (HAL_TIM_PWM_ConfigChannel(&htim3, &sConfigOC, TIM_CHANNEL_1) != HAL_OK)
  {
    Error_Handler();
  }
  if (HAL_TIM_PWM_ConfigChannel(&htim3, &sConfigOC, TIM_CHANNEL_2) != HAL_OK)
  {
    Error_Handler();
  }
  if (HAL_TIM_PWM_ConfigChannel(&htim3, &sConfigOC, TIM_CHANNEL_3) != HAL_OK)
  {
    Error_Handler();
  }
  if (HAL_TIM_PWM_ConfigChannel(&htim3, &sConfigOC, TIM_CHANNEL_4) != HAL_OK)
  {
    Error_Handler();
  }
  HAL_TIM_MspPostInit(&htim3);

}

static void MX_TIM4_Init(void)
{

  TIM_ClockConfigTypeDef sClockSourceConfig = {0};
  TIM_MasterConfigTypeDef sMasterConfig = {0};
  TIM_OC_InitTypeDef sConfigOC = {0};

  htim4.Instance = TIM4;
  htim4.Init.Prescaler = 0;
  htim4.Init.CounterMode = TIM_COUNTERMODE_UP;
  htim4.Init.Period = 65535;
  htim4.Init.ClockDivision = TIM_CLOCKDIVISION_DIV1;
  htim4.Init.AutoReloadPreload = TIM_AUTORELOAD_PRELOAD_DISABLE;
  if (HAL_TIM_Base_Init(&htim4) != HAL_OK)
  {
    Error_Handler();
  }
  sClockSourceConfig.ClockSource = TIM_CLOCKSOURCE_INTERNAL;
  if (HAL_TIM_ConfigClockSource(&htim4, &sClockSourceConfig) != HAL_OK)
  {
    Error_Handler();
  }
  if (HAL_TIM_PWM_Init(&htim4) != HAL_OK)
  {
    Error_Handler();
  }
  sMasterConfig.MasterOutputTrigger = TIM_TRGO_RESET;
  sMasterConfig.MasterSlaveMode = TIM_MASTERSLAVEMODE_DISABLE;
  if (HAL_TIMEx_MasterConfigSynchronization(&htim4, &sMasterConfig) != HAL_OK)
  {
    Error_Handler();
  }
  sConfigOC.OCMode = TIM_OCMODE_PWM1;
  sConfigOC.Pulse = 0;
  sConfigOC.OCPolarity = TIM_OCPOLARITY_HIGH;
  sConfigOC.OCFastMode = TIM_OCFAST_DISABLE;
  if (HAL_TIM_PWM_ConfigChannel(&htim4, &sConfigOC, TIM_CHANNEL_1) != HAL_OK)
  {
    Error_Handler();
  }
  HAL_TIM_MspPostInit(&htim4);

}

static void MX_USART1_UART_Init(void)
{

  huart1.Instance = USART1;
  huart1.Init.BaudRate = 38400;
  huart1.Init.WordLength = UART_WORDLENGTH_8B;
  huart1.Init.StopBits = UART_STOPBITS_1;
  huart1.Init.Parity = UART_PARITY_NONE;
  huart1.Init.Mode = UART_MODE_TX_RX;
  huart1.Init.HwFlowCtl = UART_HWCONTROL_NONE;
  huart1.Init.OverSampling = UART_OVERSAMPLING_16;
  huart1.Init.OneBitSampling = UART_ONE_BIT_SAMPLE_DISABLE;
  huart1.AdvancedInit.AdvFeatureInit = UART_ADVFEATURE_NO_INIT;
  if (HAL_UART_Init(&huart1) != HAL_OK)
  {
    Error_Handler();
  }

}

static void MX_USB_PCD_Init(void)
{

  hpcd_USB_FS.Instance = USB;
  hpcd_USB_FS.Init.dev_endpoints = 8;
  hpcd_USB_FS.Init.speed = PCD_SPEED_FULL;
  hpcd_USB_FS.Init.phy_itface = PCD_PHY_EMBEDDED;
  hpcd_USB_FS.Init.low_power_enable = DISABLE;
  hpcd_USB_FS.Init.battery_charging_enable = DISABLE;
  if (HAL_PCD_Init(&hpcd_USB_FS) != HAL_OK)
  {
    Error_Handler();
  }

}

static void MX_GPIO_Init(void)
{
  GPIO_InitTypeDef GPIO_InitStruct = {0};

  /* GPIO Ports Clock Enable */
  __HAL_RCC_GPIOE_CLK_ENABLE();
  __HAL_RCC_GPIOC_CLK_ENABLE();
  __HAL_RCC_GPIOF_CLK_ENABLE();
  __HAL_RCC_GPIOA_CLK_ENABLE();
  __HAL_RCC_GPIOB_CLK_ENABLE();
  __HAL_RCC_GPIOD_CLK_ENABLE();

  /*Configure GPIO pin Output Level */
  HAL_GPIO_WritePin(GPIOE, CS_I2C_SPI_Pin|LD4_Pin|LD3_Pin|GPIO_PIN_10
                          |LD7_Pin|LD9_Pin|LD10_Pin|LD8_Pin
                          |LD6_Pin, GPIO_PIN_RESET);

  /*Configure GPIO pin Output Level */
  HAL_GPIO_WritePin(GPIOC, GPIO_PIN_3|GPIO_PIN_6|GPIO_PIN_7|GPIO_PIN_8
                          |GPIO_PIN_9, GPIO_PIN_RESET);

  /*Configure GPIO pin Output Level */
  HAL_GPIO_WritePin(GPIOD, GPIO_PIN_8|GPIO_PIN_9|GPIO_PIN_10|GPIO_PIN_11, GPIO_PIN_RESET);

  /*Configure GPIO pin Output Level */
  HAL_GPIO_WritePin(GPIOA, GPIO_PIN_8|GPIO_PIN_9|GPIO_PIN_10, GPIO_PIN_RESET);

  /*Configure GPIO pins : CS_I2C_SPI_Pin LD4_Pin LD3_Pin PE10
                           LD7_Pin LD9_Pin LD10_Pin LD8_Pin
                           LD6_Pin */
  GPIO_InitStruct.Pin = CS_I2C_SPI_Pin|LD4_Pin|LD3_Pin|GPIO_PIN_10
                          |LD7_Pin|LD9_Pin|LD10_Pin|LD8_Pin
                          |LD6_Pin;
  GPIO_InitStruct.Mode = GPIO_MODE_OUTPUT_PP;
  GPIO_InitStruct.Pull = GPIO_NOPULL;
  GPIO_InitStruct.Speed = GPIO_SPEED_FREQ_LOW;
  HAL_GPIO_Init(GPIOE, &GPIO_InitStruct);

  /*Configure GPIO pins : MEMS_INT3_Pin MEMS_INT4_Pin */
  GPIO_InitStruct.Pin = MEMS_INT3_Pin|MEMS_INT4_Pin;
  GPIO_InitStruct.Mode = GPIO_MODE_EVT_RISING;
  GPIO_InitStruct.Pull = GPIO_NOPULL;
  HAL_GPIO_Init(GPIOE, &GPIO_InitStruct);

  /*Configure GPIO pins : PC0 PC1 PC2 */
  GPIO_InitStruct.Pin = GPIO_PIN_0|GPIO_PIN_1|GPIO_PIN_2;
  GPIO_InitStruct.Mode = GPIO_MODE_IT_RISING;
  GPIO_InitStruct.Pull = GPIO_PULLUP;
  HAL_GPIO_Init(GPIOC, &GPIO_InitStruct);

  /*Configure GPIO pins : PC3 PC6 PC7 PC8
                           PC9 */
  GPIO_InitStruct.Pin = GPIO_PIN_3|GPIO_PIN_6|GPIO_PIN_7|GPIO_PIN_8
                          |GPIO_PIN_9;
  GPIO_InitStruct.Mode = GPIO_MODE_OUTPUT_PP;
  GPIO_InitStruct.Pull = GPIO_NOPULL;
  GPIO_InitStruct.Speed = GPIO_SPEED_FREQ_LOW;
  HAL_GPIO_Init(GPIOC, &GPIO_InitStruct);

  /*Configure GPIO pin : B1_Pin */
  GPIO_InitStruct.Pin = B1_Pin;
  GPIO_InitStruct.Mode = GPIO_MODE_INPUT;
  GPIO_InitStruct.Pull = GPIO_NOPULL;
  HAL_GPIO_Init(B1_GPIO_Port, &GPIO_InitStruct);

  /*Configure GPIO pins : PD8 PD9 PD10 PD11 */
  GPIO_InitStruct.Pin = GPIO_PIN_8|GPIO_PIN_9|GPIO_PIN_10|GPIO_PIN_11;
  GPIO_InitStruct.Mode = GPIO_MODE_OUTPUT_PP;
  GPIO_InitStruct.Pull = GPIO_NOPULL;
  GPIO_InitStruct.Speed = GPIO_SPEED_FREQ_LOW;
  HAL_GPIO_Init(GPIOD, &GPIO_InitStruct);

  /*Configure GPIO pins : PA8 PA9 PA10 */
  GPIO_InitStruct.Pin = GPIO_PIN_8|GPIO_PIN_9|GPIO_PIN_10;
  GPIO_InitStruct.Mode = GPIO_MODE_OUTPUT_PP;
  GPIO_InitStruct.Pull = GPIO_NOPULL;
  GPIO_InitStruct.Speed = GPIO_SPEED_FREQ_LOW;
  HAL_GPIO_Init(GPIOA, &GPIO_InitStruct);

  /* EXTI interrupt init*/
  HAL_NVIC_SetPriority(EXTI0_IRQn, 0, 0);
  HAL_NVIC_EnableIRQ(EXTI0_IRQn);

  HAL_NVIC_SetPriority(EXTI1_IRQn, 0, 0);
  HAL_NVIC_EnableIRQ(EXTI1_IRQn);

  HAL_NVIC_SetPriority(EXTI2_TSC_IRQn, 0, 0);
  HAL_NVIC_EnableIRQ(EXTI2_TSC_IRQn);

}

void Error_Handler(void)
{
	__disable_irq();
	while (1) {
	}
}
